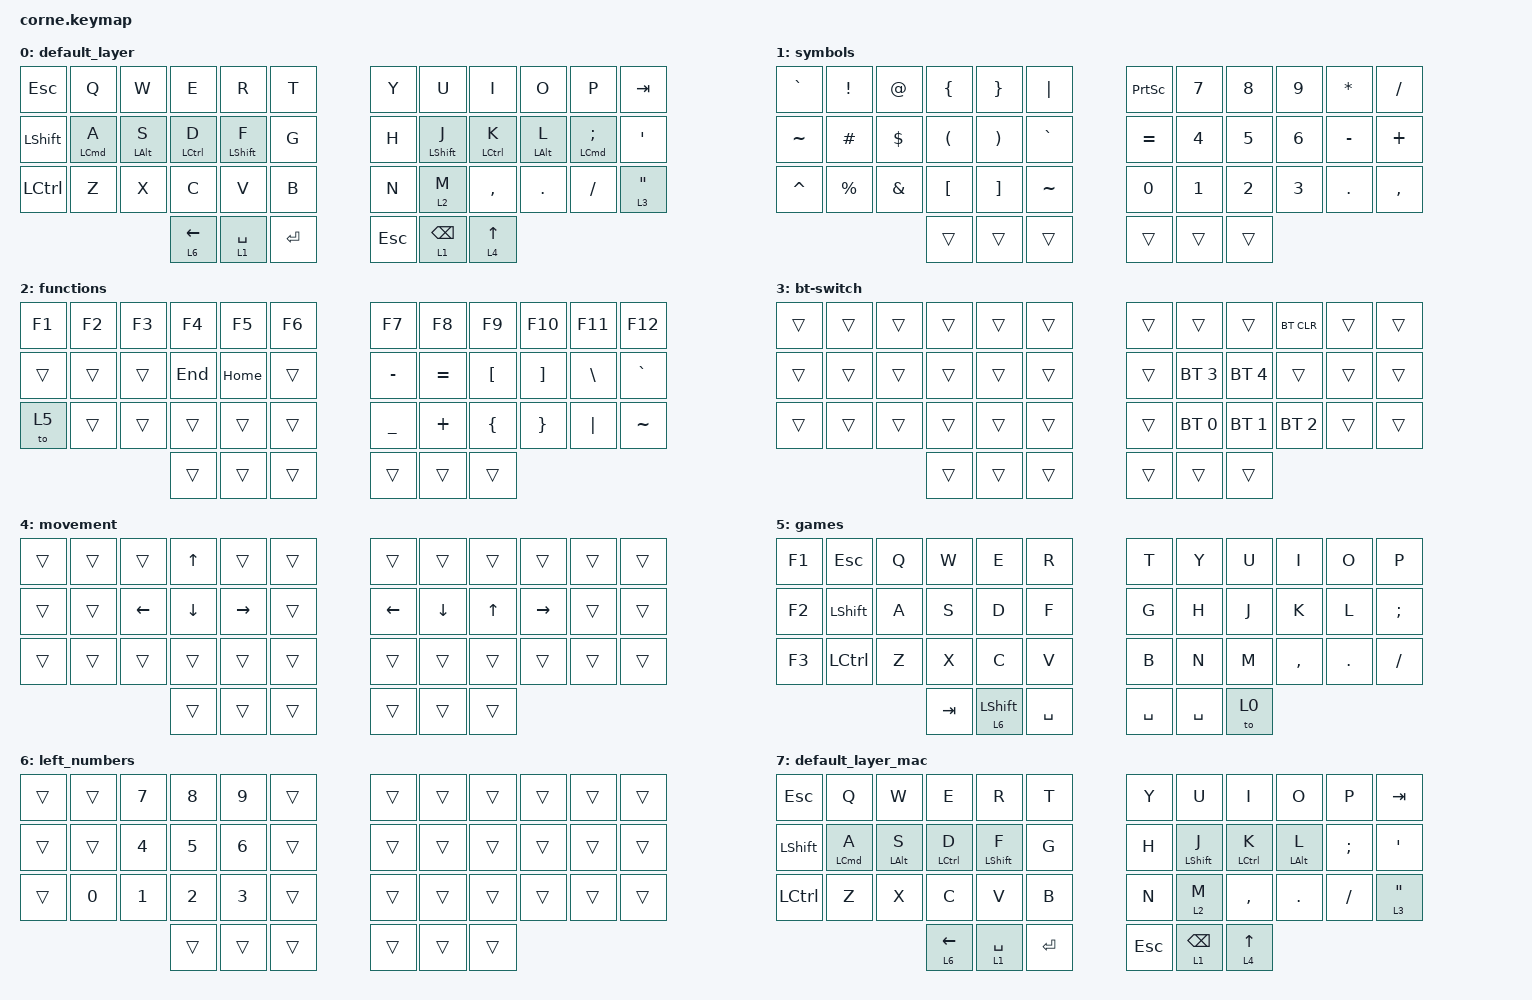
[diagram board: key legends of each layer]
/*
 * Copyright (c) 2020 The ZMK Contributors
 *
 * SPDX-License-Identifier: MIT
 */

#include <behaviors.dtsi>
#include <dt-bindings/zmk/bt.h>
#include <dt-bindings/zmk/keys.h>

/ {
    behaviors {
        hold_tap: hold_tap {
            compatible = "zmk,behavior-hold-tap";
            label = "HOLD_TAP";
            bindings = <&kp>, <&kp>;

            #binding-cells = <2>;
            tapping-term-ms = <250>;
            hold-trigger-key-positions = <12 13 14 15 16 17 0 1 2 3 4 5 6 7 8 9 10 11 12 13 14 15 16 17 18 19 20 21 22 23 24 25 26 27 28 29 30 31 32 33 34 35 36 37 38 39 40 41>;
            flavor = "tap-preferred";
        };

        hold_to_layer: hold_to_layer {
            compatible = "zmk,behavior-hold-tap";
            label = "HOLD_TO_LAYER";
            bindings = <&mo>, <&kp>;

            #binding-cells = <2>;
            tapping-term-ms = <200>;
            hold-trigger-key-positions = <0 1 2 3 4 5 6 7 8 9 10 11 12 13 14 15 16 17 18 19 20 21 22 23 24 25 26 27 28 29 30 31 32 33 34 35 36 37 38 39 40 41>;
            flavor = "tap-preferred";
        };
    };

    keymap {
        compatible = "zmk,keymap";

        default_layer {
            // -----------------------------------------------------------------------------------------
            // |  TAB |  Q  |  W  |  E  |  R  |  T  |   |  Y  |  U   |  I  |  O  |  P  | BKSP |
            // | CTRL |  A  |  S  |  D  |  F  |  G  |   |  H  |  J   |  K  |  L  |  ;  |  '   |
            // | SHFT |  Z  |  X  |  C  |  V  |  B  |   |  N  |  M   |  ,  |  .  |  /  | ESC  |
            //                    | GUI | LWR | SPC |   | ENT | RSE  | ALT |

            bindings = <
&kp ESCAPE        &kp Q                     &kp W                 &kp E                     &kp R                   &kp T        &kp Y       &kp U                       &kp I                      &kp O                 &kp P                             &kp TAB
&kp LEFT_SHIFT    &hold_tap LEFT_COMMAND A  &hold_tap LEFT_ALT S  &hold_tap LEFT_CONTROL D  &hold_tap LEFT_SHIFT F  &kp G        &kp H       &hold_tap LEFT_SHIFT J      &hold_tap LEFT_CONTROL K   &hold_tap LEFT_ALT L  &hold_tap LEFT_COMMAND SEMICOLON  &kp SQT
&kp LEFT_CONTROL  &kp Z                     &kp X                 &kp C                     &kp V                   &kp B        &kp N       &hold_to_layer 2 M          &kp COMMA                  &kp DOT               &kp FSLH                          &hold_to_layer 3 DOUBLE_QUOTES
                                                                  &hold_to_layer 6 LEFT     &hold_to_layer 1 SPACE  &kp ENTER    &kp ESCAPE  &hold_to_layer 1 BACKSPACE  &hold_to_layer 4 UP_ARROW
            >;
        };

        symbols {
            // -----------------------------------------------------------------------------------------
            // |  TAB |  1  |  2  |  3  |  4  |  5  |   |  6  |  7  |  8  |  9  |  0  | BKSP |
            // | BTCLR| BT1 | BT2 | BT3 | BT4 | BT5 |   | LFT | DWN |  UP | RGT |     |      |
            // | SHFT |     |     |     |     |     |   |     |     |     |     |     |      |
            //                    | GUI |     | SPC |   | ENT |     | ALT |

            bindings = <
&kp GRAVE  &kp EXCLAMATION  &kp AT_SIGN    &kp LEFT_BRACE        &kp RIGHT_BRACE        &kp PIPE     &kp PRINTSCREEN  &kp N7        &kp N8        &kp N9        &kp ASTRK  &kp SLASH
&kp TILDE  &kp HASH         &kp DOLLAR     &kp LEFT_PARENTHESIS  &kp RIGHT_PARENTHESIS  &kp GRAVE    &kp EQUAL        &kp NUMBER_4  &kp NUMBER_5  &kp NUMBER_6  &kp MINUS  &kp PLUS
&kp CARET  &kp PERCENT      &kp AMPERSAND  &kp LEFT_BRACKET      &kp RIGHT_BRACKET      &kp TILDE    &kp NUMBER_0     &kp NUMBER_1  &kp NUMBER_2  &kp NUMBER_3  &kp DOT    &kp COMMA
                                           &trans                &trans                 &trans       &trans           &trans        &trans
            >;
        };

        functions {
            // -----------------------------------------------------------------------------------------
            // |  TAB |  !  |  @  |  #  |  $  |  %  |   |  ^  |  &  |  *  |  (  |  )  | BKSP |
            // | CTRL |     |     |     |     |     |   |  -  |  =  |  [  |  ]  |  \  |  `   |
            // | SHFT |     |     |     |     |     |   |  _  |  +  |  {  |  }  | "|" |  ~   |
            //                    | GUI |     | SPC |   | ENT |     | ALT |

            bindings = <
&kp F1  &kp F2  &kp F3  &kp F4   &kp F5    &kp F6    &kp F7     &kp F8     &kp F9    &kp F10   &kp F11   &kp F12
&trans  &trans  &trans  &kp END  &kp HOME  &trans    &kp MINUS  &kp EQUAL  &kp LBKT  &kp RBKT  &kp BSLH  &kp GRAVE
&to 5   &trans  &trans  &trans   &trans    &trans    &kp UNDER  &kp PLUS   &kp LBRC  &kp RBRC  &kp PIPE  &kp TILDE
                        &trans   &trans    &trans    &trans     &trans     &trans
            >;
        };

        bt-switch {
            bindings = <
&trans  &trans  &trans  &trans  &trans  &trans    &trans  &trans        &trans        &bt BT_CLR    &trans  &trans
&trans  &trans  &trans  &trans  &trans  &trans    &trans  &bt BT_SEL 3  &bt BT_SEL 4  &trans        &trans  &trans
&trans  &trans  &trans  &trans  &trans  &trans    &trans  &bt BT_SEL 0  &bt BT_SEL 1  &bt BT_SEL 2  &trans  &trans
                        &trans  &trans  &trans    &trans  &trans        &trans
            >;
        };

        movement {
            bindings = <
&trans  &trans  &trans          &kp UP_ARROW    &trans           &trans    &trans    &trans          &trans        &trans     &trans  &trans
&trans  &trans  &kp LEFT_ARROW  &kp DOWN_ARROW  &kp RIGHT_ARROW  &trans    &kp LEFT  &kp DOWN_ARROW  &kp UP_ARROW  &kp RIGHT  &trans  &trans
&trans  &trans  &trans          &trans          &trans           &trans    &trans    &trans          &trans        &trans     &trans  &trans
                                &trans          &trans           &trans    &trans    &trans          &trans
            >;
        };

        games {
            bindings = <
&kp F1  &kp ESC    &kp Q  &kp W    &kp E                        &kp R        &kp T      &kp Y      &kp U  &kp I      &kp O    &kp P
&kp F2  &kp LSHFT  &kp A  &kp S    &kp D                        &kp F        &kp G      &kp H      &kp J  &kp K      &kp L    &kp SEMI
&kp F3  &kp LCTRL  &kp Z  &kp X    &kp C                        &kp V        &kp B      &kp N      &kp M  &kp COMMA  &kp DOT  &kp FSLH
                          &kp TAB  &hold_to_layer 6 LEFT_SHIFT  &kp SPACE    &kp SPACE  &kp SPACE  &to 0
            >;
        };

        left_numbers {
            bindings = <
&trans  &trans  &kp N7  &kp N8  &kp N9  &trans    &trans  &trans  &trans  &trans  &trans  &trans
&trans  &trans  &kp N4  &kp N5  &kp N6  &trans    &trans  &trans  &trans  &trans  &trans  &trans
&trans  &kp N0  &kp N1  &kp N2  &kp N3  &trans    &trans  &trans  &trans  &trans  &trans  &trans
                        &trans  &trans  &trans    &trans  &trans  &trans
            >;
        };

        default_layer_mac {
            // -----------------------------------------------------------------------------------------
            // |  TAB |  Q  |  W  |  E  |  R  |  T  |   |  Y  |  U   |  I  |  O  |  P  | BKSP |
            // | CTRL |  A  |  S  |  D  |  F  |  G  |   |  H  |  J   |  K  |  L  |  ;  |  '   |
            // | SHFT |  Z  |  X  |  C  |  V  |  B  |   |  N  |  M   |  ,  |  .  |  /  | ESC  |
            //                    | GUI | LWR | SPC |   | ENT | RSE  | ALT |

            bindings = <
&kp ESCAPE        &kp Q                     &kp W                 &kp E                     &kp R                   &kp T        &kp Y       &kp U                       &kp I                      &kp O                 &kp P     &kp TAB
&kp LEFT_SHIFT    &hold_tap LEFT_COMMAND A  &hold_tap LEFT_ALT S  &hold_tap LEFT_CONTROL D  &hold_tap LEFT_SHIFT F  &kp G        &kp H       &hold_tap LEFT_SHIFT J      &hold_tap LEFT_CONTROL K   &hold_tap LEFT_ALT L  &kp SEMI  &kp SQT
&kp LEFT_CONTROL  &kp Z                     &kp X                 &kp C                     &kp V                   &kp B        &kp N       &hold_to_layer 2 M          &kp COMMA                  &kp DOT               &kp FSLH  &hold_to_layer 3 DOUBLE_QUOTES
                                                                  &hold_to_layer 6 LEFT     &hold_to_layer 1 SPACE  &kp ENTER    &kp ESCAPE  &hold_to_layer 1 BACKSPACE  &hold_to_layer 4 UP_ARROW
            >;
        };
    };
};
